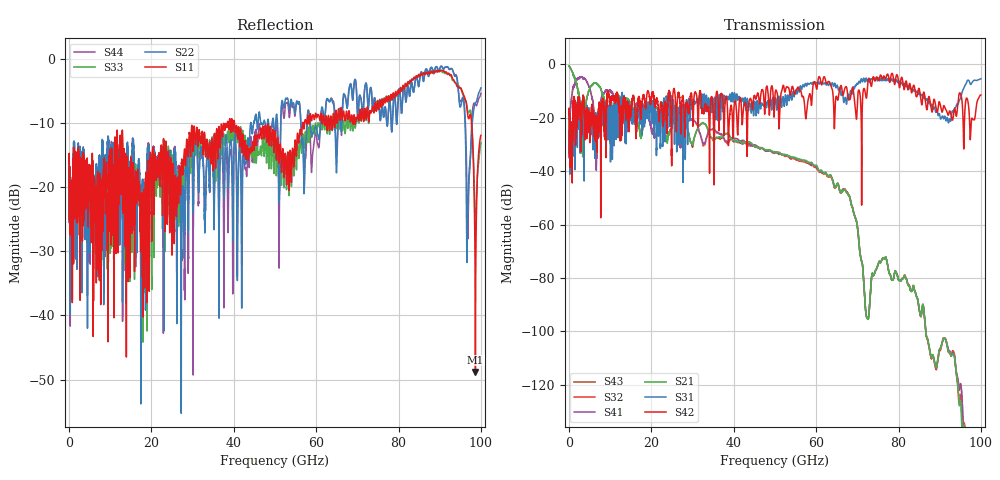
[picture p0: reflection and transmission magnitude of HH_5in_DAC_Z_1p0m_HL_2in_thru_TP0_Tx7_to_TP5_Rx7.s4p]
# GHz S RI R 45
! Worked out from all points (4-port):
!   4000 points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, 25 MHz to 100 GHz, reference 45 ohm
!   strongest paths, dB at 25 MHz, 25.02 GHz, 50.02 GHz, 75.03 GHz, 100 GHz:
!     S42: -18.8, -19.7, -11.3, -5.7, -11.5
!     S31: -19.0, -22.1, -13.0, -5.4, -5.4
!     S21: -0.7, -23.0, -32.8, -75.2, -184.4
!     S41: -31.5, -19.6, -32.9, -75.2, -185.1
!     S32: -31.5, -19.6, -33.0, -75.2, -173.4
!     S43: -0.7, -23.0, -33.1, -75.2, -177.7
!   lowest |S11| = -48.8 dB at 98.67 GHz (marker M1), VSWR 1.01, Z = 45.3 + j0.0132 ohm
!   |S11| at or under -10 dB: start of sweep to 38.47 GHz; 40.17 GHz to 56.73 GHz (16.56 GHz wide, 34.2 % of centre); 97.74 GHz to end of sweep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
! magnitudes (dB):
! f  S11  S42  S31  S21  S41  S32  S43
! 25 MHz  -16.3  -18.8  -19.0  -0.7  -31.5  -31.5  -0.7
! 2.95 GHz  -17.6  -23.3  -16.7  -17.9  -4.7  -4.7  -17.8
! 57.4 GHz  -9.5  -19.4  -7.2  -36.1  -36.3  -36.4  -36.6
! 71.95 GHz  -8.2  -10.8  -6.2  -91.1  -91.1  -90.9  -91.0
! 90.62 GHz  -1.9  -17.9  -19.4  -104.2  -104.2  -104.2  -104.1
! 98.67 GHz  -48.8  -18.7  -6.0  -168.5  -174.7  -175.0  -162.0
! 100 GHz  -12.0  -11.5  -5.4  -184.4  -185.1  -173.4  -177.7
